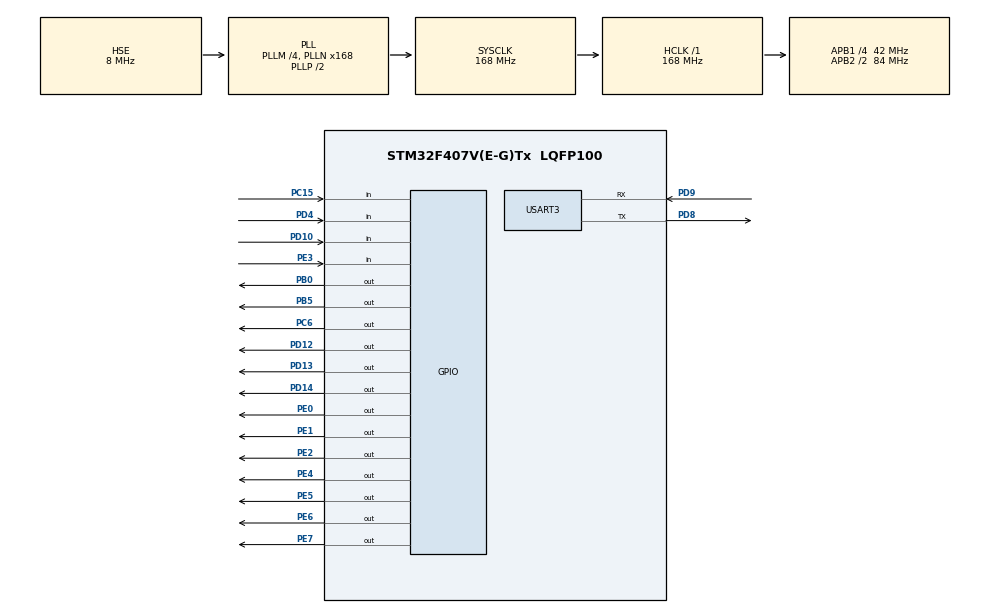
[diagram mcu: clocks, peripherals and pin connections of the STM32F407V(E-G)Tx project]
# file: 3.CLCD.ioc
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Mcu.Family=STM32F4
Mcu.Name=STM32F407V(E-G)Tx
Mcu.Package=LQFP100
NVIC.PriorityGroup=NVIC_PRIORITYGROUP_4
NVIC.USART3_IRQn=true\:0\:0\:false\:true\:true\:1\:true\:true\:true
PB0.Signal=GPIO_Output
PB5.Signal=GPIO_Output
PC15-OSC32_OUT.Signal=GPIO_Input
PC6.Signal=GPIO_Output
PD10.Signal=GPIO_Input
PD12.Signal=GPIO_Output
PD13.Signal=GPIO_Output
PD14.Signal=GPIO_Output
PD4.Signal=GPIO_Input
PD8.Mode=Asynchronous
PD8.Signal=USART3_TX
PD9.Mode=Asynchronous
PD9.Signal=USART3_RX
PE0.Signal=GPIO_Output
PE1.Signal=GPIO_Output
PE2.Signal=GPIO_Output
PE3.Signal=GPIO_Input
PE4.Signal=GPIO_Output
PE5.Signal=GPIO_Output
PE6.Signal=GPIO_Output
PE7.Signal=GPIO_Output
PH0-OSC_IN.Mode=HSE-External-Oscillator
PH0-OSC_IN.Signal=RCC_OSC_IN
PH1-OSC_OUT.Mode=HSE-External-Oscillator
PH1-OSC_OUT.Signal=RCC_OSC_OUT
ProjectManager.HeapSize=0x200
ProjectManager.StackSize=0x400
ProjectManager.TargetToolchain=STM32CubeIDE
RCC.48MHZClocksFreq_Value=84000000
RCC.AHBFreq_Value=168000000
RCC.APB1CLKDivider=RCC_HCLK_DIV4
RCC.APB1Freq_Value=42000000
RCC.APB1TimFreq_Value=84000000
RCC.APB2CLKDivider=RCC_HCLK_DIV2
RCC.APB2Freq_Value=84000000
RCC.APB2TimFreq_Value=168000000
RCC.CortexFreq_Value=168000000
RCC.HCLKFreq_Value=168000000
RCC.HSE_VALUE=8000000
RCC.HSI_VALUE=16000000
RCC.LSE_VALUE=32768
RCC.PLLM=4
RCC.PLLN=168
RCC.PLLSourceVirtual=RCC_PLLSOURCE_HSE
RCC.SYSCLKFreq_VALUE=168000000
RCC.SYSCLKSource=RCC_SYSCLKSOURCE_PLLCLK
RCC.VCOOutputFreq_Value=336000000
USART3.VirtualMode=VM_ASYNC
board=custom

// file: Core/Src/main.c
/* USER CODE BEGIN Header */
/**
  ******************************************************************************
  * @file           : main.c
  * @brief          : Main program body
  ******************************************************************************
  * @attention
  *
  * Copyright (c) 2024 STMicroelectronics.
  * All rights reserved.
  *
  * This software is licensed under terms that can be found in the LICENSE file
  * in the root directory of this software component.
  * If no LICENSE file comes with this software, it is provided AS-IS.
  *
  ******************************************************************************
  */
/* USER CODE END Header */
#include "main.h"
#include "usart.h"
#include "gpio.h"

/* USER CODE BEGIN Includes */
#include "CLCD.h"
#include  <stdio.h>
/* USER CODE END Includes */

/* USER CODE BEGIN PV */
 uint8_t rx3_data;
/* USER CODE END PV */

void SystemClock_Config(void);
static void MX_NVIC_Init(void);

int main(void)
{

  /* MCU Configuration--------------------------------------------------------*/

  /* Reset of all peripherals, Initializes the Flash interface and the Systick. */
  HAL_Init();

  /* Configure the system clock */
  SystemClock_Config();

  /* Initialize all configured peripherals */
  MX_GPIO_Init();
  MX_USART3_UART_Init();

  /* Initialize interrupts */
  MX_NVIC_Init();
  /* USER CODE BEGIN 2 */
  HAL_GPIO_WritePin(GPIOD, GPIO_PIN_12, GPIO_PIN_SET);
  HAL_GPIO_WritePin(GPIOD, GPIO_PIN_13, GPIO_PIN_SET);
  HAL_GPIO_WritePin(GPIOD, GPIO_PIN_14, GPIO_PIN_SET);

  HAL_GPIO_WritePin(GPIOC, GPIO_PIN_6, GPIO_PIN_SET);
  HAL_GPIO_WritePin(GPIOB, GPIO_PIN_5, GPIO_PIN_SET);
  HAL_GPIO_WritePin(GPIOB, GPIO_PIN_0, GPIO_PIN_SET);

  HAL_UART_Receive_IT(&huart3, &rx3_data, 1);

  CLCD_GPIO_Init();
  CLCD_Init();
  CLCD_Puts(0, 0, "hello world");
  CLCD_Clear();

  /* USER CODE END 2 */

  /* Infinite loop */
  /* USER CODE BEGIN WHILE */
  uint8_t a = 0;
  uint8_t str[20];
  while (1)
  {
	  sprintf(str,"%d",a++);
	  CLCD_Puts(0, 0, str);
	  HAL_Delay(100);
    /* USER CODE END WHILE */

  }
}

void SystemClock_Config(void)
{
  RCC_OscInitTypeDef RCC_OscInitStruct = {0};
  RCC_ClkInitTypeDef RCC_ClkInitStruct = {0};

  /** Configure the main internal regulator output voltage
  */
  __HAL_RCC_PWR_CLK_ENABLE();
  __HAL_PWR_VOLTAGESCALING_CONFIG(PWR_REGULATOR_VOLTAGE_SCALE1);

  /** Initializes the RCC Oscillators according to the specified parameters
  * in the RCC_OscInitTypeDef structure.
  */
  RCC_OscInitStruct.OscillatorType = RCC_OSCILLATORTYPE_HSE;
  RCC_OscInitStruct.HSEState = RCC_HSE_ON;
  RCC_OscInitStruct.PLL.PLLState = RCC_PLL_ON;
  RCC_OscInitStruct.PLL.PLLSource = RCC_PLLSOURCE_HSE;
  RCC_OscInitStruct.PLL.PLLM = 4;
  RCC_OscInitStruct.PLL.PLLN = 168;
  RCC_OscInitStruct.PLL.PLLP = RCC_PLLP_DIV2;
  RCC_OscInitStruct.PLL.PLLQ = 4;
  if (HAL_RCC_OscConfig(&RCC_OscInitStruct) != HAL_OK)
  {
    Error_Handler();
  }

  /** Initializes the CPU, AHB and APB buses clocks
  */
  RCC_ClkInitStruct.ClockType = RCC_CLOCKTYPE_HCLK|RCC_CLOCKTYPE_SYSCLK
                              |RCC_CLOCKTYPE_PCLK1|RCC_CLOCKTYPE_PCLK2;
  RCC_ClkInitStruct.SYSCLKSource = RCC_SYSCLKSOURCE_PLLCLK;
  RCC_ClkInitStruct.AHBCLKDivider = RCC_SYSCLK_DIV1;
  RCC_ClkInitStruct.APB1CLKDivider = RCC_HCLK_DIV4;
  RCC_ClkInitStruct.APB2CLKDivider = RCC_HCLK_DIV2;

  if (HAL_RCC_ClockConfig(&RCC_ClkInitStruct, FLASH_LATENCY_5) != HAL_OK)
  {
    Error_Handler();
  }
}

/**
  * @brief NVIC Configuration.
  * @retval None
  */
static void MX_NVIC_Init(void)
{
  /* USART3_IRQn interrupt configuration */
  HAL_NVIC_SetPriority(USART3_IRQn, 0, 0);
  HAL_NVIC_EnableIRQ(USART3_IRQn);
}

/* USER CODE BEGIN 4 */
void HAL_UART_RxCpltCallback(UART_HandleTypeDef *huart)
{
  if(huart->Instance == USART3)
  {
	  HAL_UART_Receive_IT(&huart3, &rx3_data, 10);
	  HAL_UART_Transmit(&huart3, &rx3_data, 1, 10);
  }
}
/* USER CODE END 4 */

void Error_Handler(void)
{
  __disable_irq();
  while (1)
  {
  }
}
